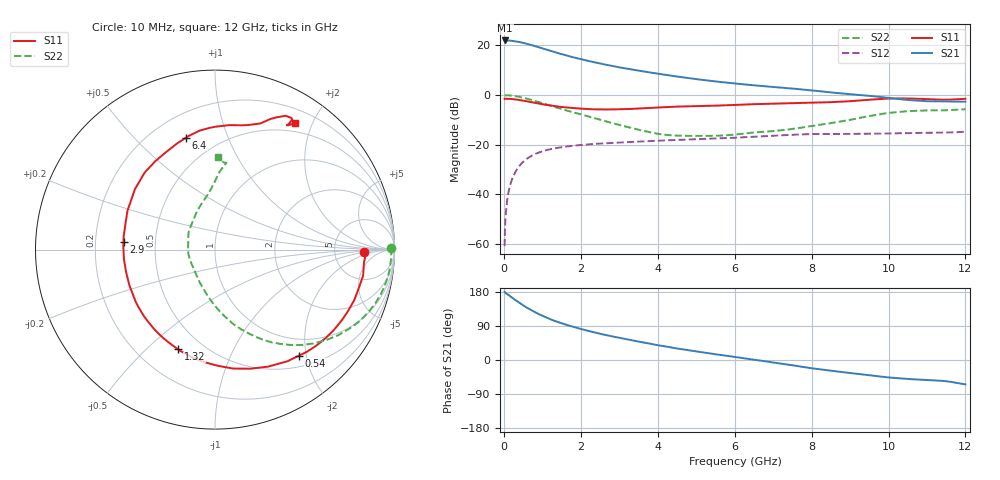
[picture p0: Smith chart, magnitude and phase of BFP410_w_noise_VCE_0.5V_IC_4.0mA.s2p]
! Infineon Technologies  Discrete & RF Semiconductors
! BFP410
! VCE =  0.5 V,  IC =  4.0 mA
! Common Emitter S-Parameters:  Nov 2015
# GHz  S  MA  R  50
!  f  S11  S21  S12  S22
! GHz  MAG  ANG  MAG  ANG  MAG  ANG  MAG  ANG
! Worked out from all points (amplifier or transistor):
!   243 points, 10 MHz to 12 GHz, reference 50 ohm
!   highest |S21| = 21.9 dB at 20 MHz (marker M1)
!   |S21| within 3 dB of that: start of sweep to 956.2 MHz
!   unconditionally stable (mu >= 1): 3.213 GHz to end of sweep
!   at 240 MHz: K = 0.09, MSG = 27.1 dB, |S12| = -32.6 dB
!   at 1.84 GHz: K = 0.60, MSG = 17.7 dB, |S12| = -20.4 dB
!   at 12 GHz: K = 1.06, MAG = 4.6 dB, |S12| = -14.9 dB
!   lowest NFmin = 0.94 dB at 900 MHz
!   S11 on the Smith chart (normalised r, x): 10 MHz: 11, -1; 540 MHz: 0.68, -1.87; 1.32 GHz: 0.37, -0.63; 2.9 GHz: 0.32, +0.04; 6.4 GHz: 0.34, +0.72; 12 GHz: 0.38, +1.75
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0.01  0.8295 -0.9  12.27 179.6  0.0009 100.2  0.9796 0.5
0.02  0.8401 -1.9  12.46 178.4  0.0022 91.7  0.9821 -1.0
0.11  0.8358 -11.0  12.41 171.7  0.0109 84.3  0.9786 -6.8
0.2  0.8255 -19.7  12.27 164.9  0.0197 79.3  0.9656 -12.4
0.3  0.8084 -29.4  11.98 157.5  0.029 74.1  0.9424 -18.4
0.4  0.7886 -38.9  11.59 150.5  0.0375 69.2  0.9115 -24.1
0.54  0.7538 -51.6  10.92 141.3  0.0483 62.7  0.86 -31.5
0.7  0.7162 -65.5  10.13 131.6  0.0588 56.4  0.7976 -39.3
0.9  0.6702 -81.4  9.112 121.0  0.0693 49.4  0.7176 -47.8
1.1  0.6286 -96.0  8.155 111.8  0.0773 43.8  0.6417 -55.0
1.32  0.5925 -110.4  7.243 102.9  0.0842 38.5  0.5689 -61.9
1.68  0.5511 -130.9  6.043 90.8  0.0924 32.1  0.4722 -71.3
2.02  0.5268 -147.7  5.18 81.3  0.0984 27.5  0.4011 -78.8
2.4  0.5114 -165.1  4.439 71.6  0.1038 23.1  0.3318 -87.4
2.9  0.5116 175.1  3.704 60.5  0.109 18.5  0.2591 -99.3
4.1  0.5623 140.6  2.598 37.3  0.1206 10.3  0.1604 -137.4
5  0.5943 124.1  2.071 22.4  0.1279 5.1  0.1502 -170.5
6.1  0.6315 108.3  1.668 6.6  0.1385 -0.5  0.1615 156.8
6.4  0.6447 104.4  1.583 2.2  0.142 -2.2  0.1715 149.4
8.2  0.7023 80.6  1.187 -24.4  0.1627 -16.4  0.2492 110.9
10.2  0.8453 61.0  0.836 -47.6  0.1683 -28.7  0.4484 85.5
12  0.8336 57.7  0.73 -64.4  0.1804 -40.8  0.5148 87.9
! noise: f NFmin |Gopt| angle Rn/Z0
0.45  0.98  0.32  5  0.21
0.9  0.94  0.3  19  0.2
1.8  1.11  0.22  51  0.18
2.4  1.13  0.21  57  0.19
5.5  2.09  0.32  -131  0.22
10  3.48  0.67  -53  1.85
